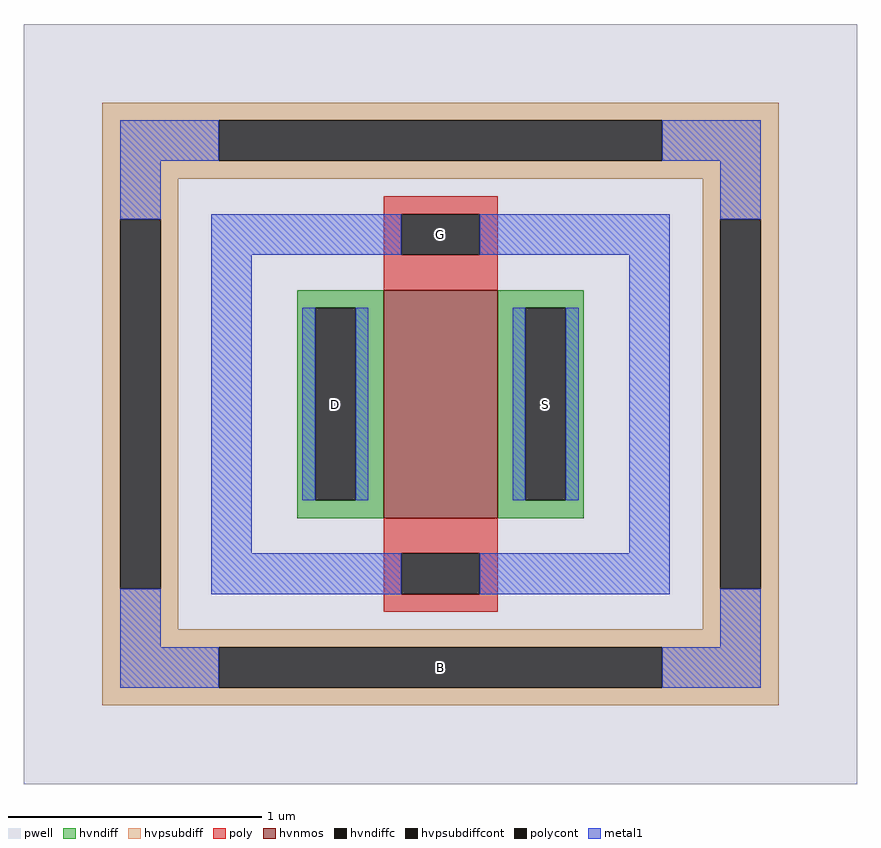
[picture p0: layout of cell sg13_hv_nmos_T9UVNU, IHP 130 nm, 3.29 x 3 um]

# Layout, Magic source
magic
tech ihp-sg13cmos5l
magscale 1 2
<< pwell >>
rect -329 -300 329 300
<< hvnmos >>
rect -45 -90 45 90
<< hvndiff >>
rect -113 76 -45 90
rect -113 -76 -99 76
rect -67 -76 -45 76
rect -113 -90 -45 -76
rect 45 76 113 90
rect 45 -76 67 76
rect 99 -76 113 76
rect 45 -90 113 -76
<< hvndiffc >>
rect -99 -76 -67 76
rect 67 -76 99 76
<< hvpsubdiff >>
rect -267 224 267 238
rect -267 192 -175 224
rect 175 192 267 224
rect -267 178 267 192
rect -267 146 -207 178
rect -267 -146 -253 146
rect -221 -146 -207 146
rect 207 146 267 178
rect -267 -178 -207 -146
rect 207 -146 221 146
rect 253 -146 267 146
rect 207 -178 267 -146
rect -267 -192 267 -178
rect -267 -224 -175 -192
rect 175 -224 267 -192
rect -267 -238 267 -224
<< hvpsubdiffcont >>
rect -175 192 175 224
rect -253 -146 -221 146
rect 221 -146 253 146
rect -175 -224 175 -192
<< poly >>
rect -45 150 45 164
rect -45 118 -31 150
rect 31 118 45 150
rect -45 90 45 118
rect -45 -118 45 -90
rect -45 -150 -31 -118
rect 31 -150 45 -118
rect -45 -164 45 -150
<< polycont >>
rect -31 118 31 150
rect -31 -150 31 -118
<< metal1 >>
rect -253 192 -175 224
rect 175 192 253 224
rect -253 146 -221 192
rect -253 -192 -221 -146
rect -181 118 -31 150
rect 31 118 181 150
rect -181 -118 -149 118
rect -109 -76 -99 76
rect -67 -76 -57 76
rect 57 -76 67 76
rect 99 -76 109 76
rect 149 -118 181 118
rect -181 -150 -31 -118
rect 31 -150 181 -118
rect 221 146 253 192
rect 221 -192 253 -146
rect -253 -224 -175 -192
rect 175 -224 253 -192
<< labels >>
rlabel hvpsubdiffcont 0 -208 0 -208 0 B
port 1 nsew
rlabel hvndiffc -83 0 -83 0 0 D
port 2 nsew
rlabel hvndiffc 83 0 83 0 0 S
port 3 nsew
rlabel polycont 0 134 0 134 0 G
port 4 nsew
<< properties >>
string FIXED_BBOX -237 -208 237 208
string gencell sg13_hv_nmos
string library sg13cmos5l
string parameters w 0.9 l 0.45 m 1 ng 1 diffcov 100 polycov 100 guard 1 glc 1 grc 1 gtc 1 gbc 1 tbcov 100 rlcov 100 topc 1 botc 1 poverlap 0 doverlap 1 lmin 0.45 wmin 0.15 class mosfet compatible {sg13_lv_nmos sg13_hv_nmos} full_metal 1 conn_gates 1 gate_ring 1 doports 1 viasrc 0 viadrn 0 viagate 0 ccols 1 viagb 0 viagr 0 viagl 0 viagt 0
<< end >>
